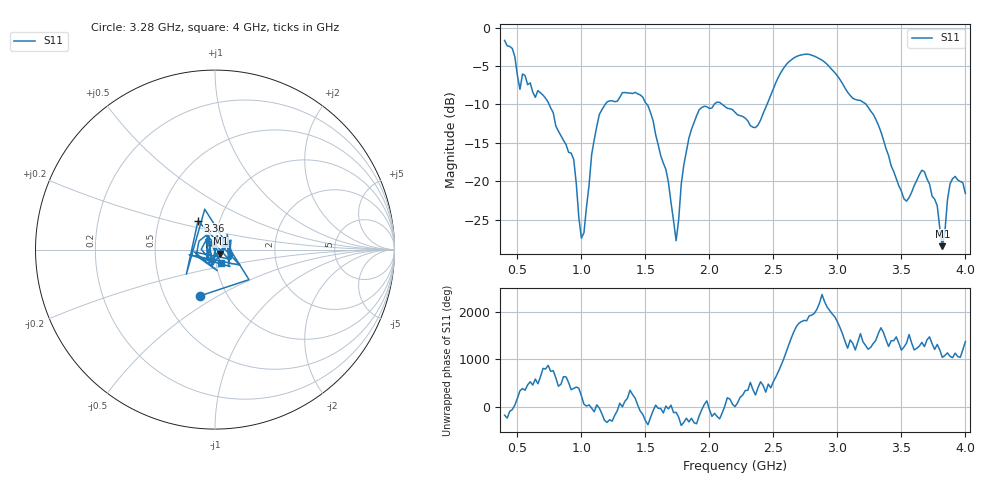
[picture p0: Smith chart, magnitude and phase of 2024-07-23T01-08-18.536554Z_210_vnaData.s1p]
!Created with skrf (http://scikit-rf.org).
# Hz S RI R 50.0
!freq ReS11 ImS11
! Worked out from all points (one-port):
!   181 points, 400 MHz to 4 GHz, reference 50 ohm
!   lowest |S11| = -28.5 dB at 3.82 GHz (marker M1), VSWR 1.08, Z = 53 - j2.47 ohm
!   |S11| at or under -10 dB: 747.9 MHz to 1.186 GHz (438.3 MHz wide, 45.3 % of centre); 1.512 GHz to 2.037 GHz (525.1 MHz wide, 29.6 % of centre); 3.225 GHz to end of sweep (the widest 3 of 4)
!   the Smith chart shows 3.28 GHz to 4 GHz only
!   S11 on the Smith chart (normalised r, x): 3.28 GHz: 0.74, -0.41; 3.36 GHz: 0.79, +0.26; 4 GHz: 1.06, -0.16
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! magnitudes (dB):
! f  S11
! 400 MHz  -1.7
! 460 MHz  -2.7
! 520 MHz  -8.0
! 700 MHz  -8.8
! 860 MHz  -14.7
! 940 MHz  -17.2
! 1 GHz  -27.4
! 1.14 GHz  -11.3
! 1.3 GHz  -9.1
! 1.52 GHz  -10.1
! 1.66 GHz  -18.5
! 1.74 GHz  -27.8
! 1.76 GHz  -25.0
! 1.8 GHz  -17.9
! 1.92 GHz  -10.7
! 2.2 GHz  -11.0
! 2.36 GHz  -13.0
! 2.66 GHz  -3.9
! 2.88 GHz  -4.2
! 3.1 GHz  -8.8
! 3.28 GHz  -11.3
! 3.36 GHz  -14.6
! 3.56 GHz  -22.1
! 3.68 GHz  -18.8
! 3.78 GHz  -23.2
! 3.82 GHz  -28.5
! 3.88 GHz  -20.4
! 4 GHz  -21.6
